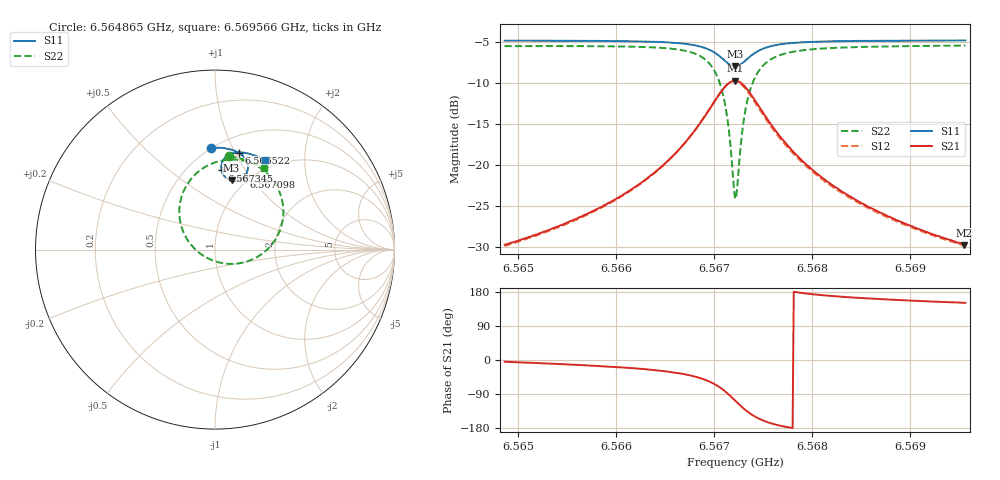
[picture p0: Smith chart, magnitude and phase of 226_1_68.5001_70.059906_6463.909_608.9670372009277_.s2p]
#  HZ  S  RI  R  50.00
! Rohde & Schwarz Vector Network Analyzer
! Rohde-Schwarz,ZNB20-2Port,1311601062101988,3.16
! Created: UTC 3/20/2024, 5:13:51 PM
! freq[Hz]  re:S11  im:S11  re:S21  im:S21  re:S12  im:S12  re:S22  im:S22
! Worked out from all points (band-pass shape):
!   401 points, 6.564865 GHz to 6.569566 GHz, reference 50 ohm
!   highest |S21| = -9.77 dB at 6.567215 GHz (marker M1); lowest = -29.8 dB at 6.569554 GHz (marker M2)
!   |S21| within 3 dB of the highest: 6.566982 GHz to 6.567451 GHz (469.6 kHz wide, 0.00715 % of centre)
!   lowest |S11| = -8.0 dB at 6.567215 GHz (marker M3), VSWR 2.31, Z = 43.4 + j39.6 ohm
!   |S11| at or under -10 dB: nowhere
!   |S22| runs from -24.1 to -5.5 dB; largest |S21 - S12| = 0.017
!   S11 on the Smith chart (normalised r, x): 6.564865 GHz: 0.49, +0.83; 6.566522 GHz: 0.66, +1.03; 6.567098 GHz: 0.93, +0.94; 6.567345 GHz: 0.72, +0.79; 6.569566 GHz: 0.88, +1.30
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6.5648653e9  -0.0231 0.5688  0.0323 -0.00252  0.0317 -0.00316  0.0796 0.5208
6.5656526e9  0.0434 0.566  0.0469 -0.0114  0.0462 -0.0119  0.1604 0.5018
6.5660991e9  0.0853 0.5582  0.0626 -0.0233  0.0618 -0.0238  0.2197 0.4756
6.5664399e9  0.1222 0.5449  0.0832 -0.0439  0.0819 -0.045  0.2805 0.4329
6.5665222e9  0.1321 0.5397  0.0899 -0.0527  0.0887 -0.0538  0.2983 0.4156
6.5667572e9  0.163 0.5141  0.1124 -0.0963  0.1107 -0.0983  0.3554 0.3305
6.5669217e9  0.1817 0.4767  0.121 -0.1624  0.1177 -0.166  0.3809 0.2033
6.5670275e9  0.1801 0.4366  0.1001 -0.2325  0.0932 -0.2372  0.3445 0.0696
6.567098e9  0.162 0.4058  0.0539 -0.2849  0.0429 -0.2883  0.2576 -0.0269
6.567145e9  0.1387 0.3895  0.0028 -0.3106  -0.0111 -0.3111  0.162 -0.0709
6.5672037e9  0.1001 0.3837  -0.0769 -0.3149  -0.0919 -0.3091  0.0171 -0.0701
6.5672155e9  0.0922 0.3852  -0.0933 -0.3109  -0.1079 -0.3039  -0.0114 -0.061
6.567239e9  0.0767 0.3905  -0.1239 -0.2984  -0.1374 -0.2887  -0.0648 -0.0344
6.5672977e9  0.0475 0.4158  -0.1829 -0.2465  -0.1911 -0.2326  -0.1606 0.0661
6.5673448e9  0.0365 0.4412  -0.2068 -0.1962  -0.2103 -0.1822  -0.1941 0.1576
6.5674388e9  0.0397 0.4854  -0.2083 -0.1108  -0.2064 -0.1  -0.1824 0.3065
6.5675798e9  0.0674 0.5219  -0.1717 -0.0403  -0.168 -0.0344  -0.1039 0.4248
6.5677443e9  0.0995 0.5377  -0.1319 -0.00714  -0.1286 -0.00392  -0.0216 0.4775
6.5680028e9  0.1386 0.5423  -0.0924 0.0103  -0.0902 0.0117  0.0653 0.4999
6.5687901e9  0.2181 0.5253  -0.0451 0.0168  -0.0439 0.0171  0.1992 0.4861
6.5695539e9  0.2773 0.4988  -0.0283 0.0157  -0.0278 0.0159  0.2738 0.4553
6.5695657e9  0.2781 0.4983  -0.0283 0.0158  -0.0276 0.0158  0.2748 0.4547
